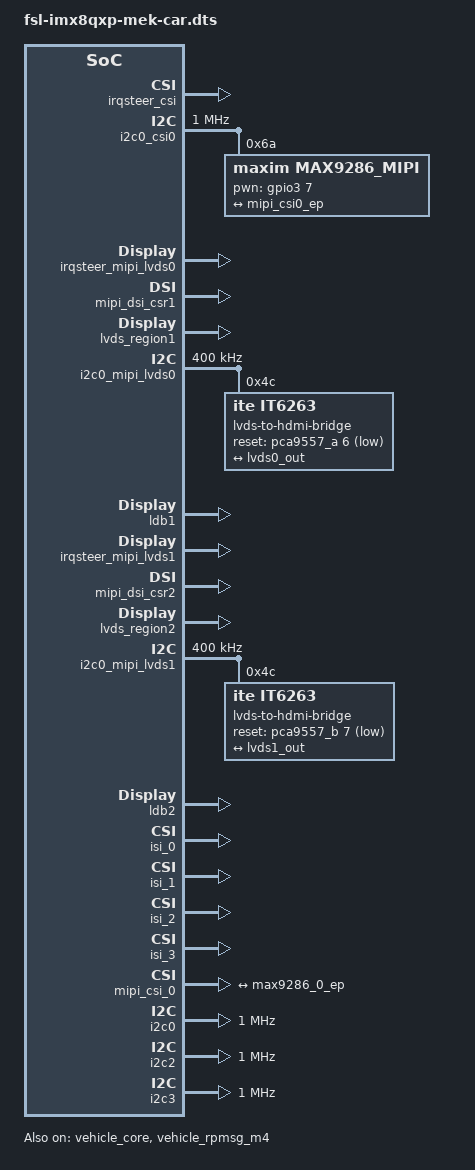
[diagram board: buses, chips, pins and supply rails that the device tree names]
/*
 * Copyright 2018 NXP
 *
 * This program is free software; you can redistribute it and/or
 * modify it under the terms of the GNU General Public License
 * as published by the Free Software Foundation; either version 2
 * of the License, or (at your option) any later version.
 *
 * This program is distributed in the hope that it will be useful,
 * but WITHOUT ANY WARRANTY; without even the implied warranty of
 * MERCHANTABILITY or FITNESS FOR A PARTICULAR PURPOSE.  See the
 * GNU General Public License for more details.
 */

#include "fsl-imx8qxp-mek-rpmsg.dts"
/ {
	trusty {
		compatible = "android,trusty-smc-v1";
		ranges;
		#address-cells = <2>;
		#size-cells = <2>;
		use-gicv3-workaround;
		trusty-irq {
			use-gicv3-workaround;
			compatible = "android,trusty-irq-v1";
			interrupt-templates = <&trusty_ipi 0>;
			interrupt-ranges = < 0 15 0>;
		};
		trusty-virtio {
			compatible = "android,trusty-virtio-v1";
		};
		trusty-log {
			compatible = "android,trusty-log-v1";
		};
	};
	trusty_ipi: interrupt-controller@0 {
		compatible = "android,CustomIPI";
		interrupt-controller;
		#interrupt-cells = <1>;
	};
};

/ {
    reserved-memory {
            carveout_region: imx_ion@0 {
                   status = "disabled";
            };
    };
};

/delete-node/ &irqsteer_csi;
/delete-node/ &i2c0_csi0;
/delete-node/ &dpu_intsteer;
/delete-node/ &pixel_combiner;
/delete-node/ &prg1;
/delete-node/ &prg2;
/delete-node/ &prg3;
/delete-node/ &prg4;
/delete-node/ &prg5;
/delete-node/ &prg6;
/delete-node/ &prg7;
/delete-node/ &prg8;
/delete-node/ &prg9;
/delete-node/ &dpr1_channel1;
/delete-node/ &dpr1_channel2;
/delete-node/ &dpr1_channel3;
/delete-node/ &dpr2_channel1;
/delete-node/ &dpr2_channel2;
/delete-node/ &dpr2_channel3;
/delete-node/ &dpu1;
/delete-node/ &irqsteer_mipi_lvds0;
/delete-node/ &mipi_dsi_csr1;
/delete-node/ &mipi_dsi_phy1;
/delete-node/ &mipi_dsi_bridge1;
/delete-node/ &mipi_dsi1;
/delete-node/ &lvds_region1;
/delete-node/ &ldb1_phy;
/delete-node/ &ldb1;
/delete-node/ &irqsteer_mipi_lvds1;
/delete-node/ &mipi_dsi_csr2;
/delete-node/ &mipi_dsi_phy2;
/delete-node/ &mipi_dsi_bridge2;
/delete-node/ &mipi_dsi2;
/delete-node/ &lvds_region2;
/delete-node/ &ldb2_phy;
/delete-node/ &ldb2;
/delete-node/ &cameradev;
/delete-node/ &pwm_mipi_lvds1;
/delete-node/ &pwm_mipi_lvds0;
/delete-node/ &i2c0_mipi_lvds0;
/delete-node/ &i2c0_mipi_lvds1;
/delete-node/ &gpio0_mipi_csi0;

&vehicle_core {
	status = "okay";
};

&vehicle_rpmsg_m4 {
	#address-cells = <2>;
	#size-cells = <2>;
	status = "okay";
	ranges;

	clk_post: clk1 {
		compatible = "fsl,imx8qxp-post-clk";
		#clock-cells = <1>;
	};

	irqsteer_csi: irqsteer@58220000 {
		compatible = "nxp,imx-irqsteer";
		reg = <0x0 0x58220000 0x0 0x1000>;
		interrupts = <GIC_SPI 320 IRQ_TYPE_LEVEL_HIGH>;
		interrupt-controller;
		interrupt-parent = <&gic>;
		#interrupt-cells = <2>;
		clocks = <&clk IMX8QXP_CLK_DUMMY>;
		clock-names = "ipg";
		power-domains = <&pd_mipi_csi>;
	};

	i2c0_csi0: i2c@58226000 {
		#address-cells = <1>;
		#size-cells = <0>;
		compatible = "fsl,imx8qm-lpi2c";
		reg = <0x0 0x58226000 0x0 0x1000>;
		interrupts = <8 IRQ_TYPE_LEVEL_HIGH>;
		interrupt-parent = <&irqsteer_csi>;
		clocks = <&clk_post IMX8QXP_CSI0_I2C0_CLK>,
			<&clk_post IMX8QXP_CSI0_I2C0_IPG_CLK>;
		clock-names = "per", "ipg";
		assigned-clocks = <&clk_post IMX8QXP_CSI0_I2C0_CLK>;
		assigned-clock-rates = <24000000>;
		power-domains = <&pd_mipi_csi_i2c0>;
		clock-frequency = <1000000>;
		pinctrl-names = "default";
		pinctrl-0 = <&pinctrl_csi0_lpi2c0>;
		status = "okay";

		max9286_mipi@6A	 {
			compatible = "maxim,max9286_mipi";
			reg = <0x6A>;
			clocks = <&clk IMX8QXP_CLK_DUMMY>;
			clock-names = "capture_mclk";
			mclk = <27000000>;
			mclk_source = <0>;
			pwn-gpios = <&gpio3 7 GPIO_ACTIVE_HIGH>;
			virtual-channel;
			status = "okay";
			port {
				max9286_0_ep: endpoint {
				remote-endpoint = <&mipi_csi0_ep>;
				data-lanes = <1 2 3 4>;
				};
			};
		};
	};

	dpu_intsteer: dpu_intsteer@56000000 {
		compatible = "fsl,imx8qxp-dpu-intsteer", "syscon";
		reg = <0x0 0x56000000 0x0 0x10000>;
	};

	pixel_combiner: pixel-combiner@56020000 {
		compatible = "fsl,imx8qxp-pixel-combiner";
		reg = <0x0 0x56020000 0x0 0x10000>;
		power-domains = <&pd_dc0>;
		status = "okay";
	};

	prg1: prg@56040000 {
		compatible = "fsl,imx8qxp-prg", "fsl,imx8qm-prg";
		reg = <0x0 0x56040000 0x0 0x10000>;
		clocks = <&clk_post IMX8QXP_DC0_PRG0_APB_CLK>,
			 <&clk_post IMX8QXP_DC0_PRG0_RTRAM_CLK>;
		clock-names = "apb", "rtram";
		power-domains = <&pd_dc0>;
		status = "okay";
	};

	prg2: prg@56050000 {
		compatible = "fsl,imx8qxp-prg", "fsl,imx8qm-prg";
		reg = <0x0 0x56050000 0x0 0x10000>;
		clocks = <&clk_post IMX8QXP_DC0_PRG1_APB_CLK>,
			 <&clk_post IMX8QXP_DC0_PRG1_RTRAM_CLK>;
		clock-names = "apb", "rtram";
		power-domains = <&pd_dc0>;
		status = "okay";
	};

	prg3: prg@56060000 {
		compatible = "fsl,imx8qxp-prg", "fsl,imx8qm-prg";
		reg = <0x0 0x56060000 0x0 0x10000>;
		clocks = <&clk_post IMX8QXP_DC0_PRG2_APB_CLK>,
			 <&clk_post IMX8QXP_DC0_PRG2_RTRAM_CLK>;
		clock-names = "apb", "rtram";
		power-domains = <&pd_dc0>;
		status = "okay";
	};

	prg4: prg@56070000 {
		compatible = "fsl,imx8qxp-prg", "fsl,imx8qm-prg";
		reg = <0x0 0x56070000 0x0 0x10000>;
		clocks = <&clk_post IMX8QXP_DC0_PRG3_APB_CLK>,
			 <&clk_post IMX8QXP_DC0_PRG3_RTRAM_CLK>;
		clock-names = "apb", "rtram";
		power-domains = <&pd_dc0>;
		status = "okay";
	};

	prg5: prg@56080000 {
		compatible = "fsl,imx8qxp-prg", "fsl,imx8qm-prg";
		reg = <0x0 0x56080000 0x0 0x10000>;
		clocks = <&clk_post IMX8QXP_DC0_PRG4_APB_CLK>,
			 <&clk_post IMX8QXP_DC0_PRG4_RTRAM_CLK>;
		clock-names = "apb", "rtram";
		power-domains = <&pd_dc0>;
		status = "okay";
	};

	prg6: prg@56090000 {
		compatible = "fsl,imx8qxp-prg", "fsl,imx8qm-prg";
		reg = <0x0 0x56090000 0x0 0x10000>;
		clocks = <&clk_post IMX8QXP_DC0_PRG5_APB_CLK>,
			 <&clk_post IMX8QXP_DC0_PRG5_RTRAM_CLK>;
		clock-names = "apb", "rtram";
		power-domains = <&pd_dc0>;
		status = "okay";
	};

	prg7: prg@560a0000 {
		compatible = "fsl,imx8qxp-prg", "fsl,imx8qm-prg";
		reg = <0x0 0x560a0000 0x0 0x10000>;
		clocks = <&clk_post IMX8QXP_DC0_PRG6_APB_CLK>,
			 <&clk_post IMX8QXP_DC0_PRG6_RTRAM_CLK>;
		clock-names = "apb", "rtram";
		power-domains = <&pd_dc0>;
		status = "okay";
	};

	prg8: prg@560b0000 {
		compatible = "fsl,imx8qxp-prg", "fsl,imx8qm-prg";
		reg = <0x0 0x560b0000 0x0 0x10000>;
		clocks = <&clk_post IMX8QXP_DC0_PRG7_APB_CLK>,
			 <&clk_post IMX8QXP_DC0_PRG7_RTRAM_CLK>;
		clock-names = "apb", "rtram";
		power-domains = <&pd_dc0>;
		status = "okay";
	};

	prg9: prg@560c0000 {
		compatible = "fsl,imx8qxp-prg", "fsl,imx8qm-prg";
		reg = <0x0 0x560c0000 0x0 0x10000>;
		clocks = <&clk_post IMX8QXP_DC0_PRG8_APB_CLK>,
			 <&clk_post IMX8QXP_DC0_PRG8_RTRAM_CLK>;
		clock-names = "apb", "rtram";
		power-domains = <&pd_dc0>;
		status = "okay";
	};

	dpr1_channel1: dpr-channel@560d0000 {
		compatible = "fsl,imx8qxp-dpr-channel",
			     "fsl,imx8qm-dpr-channel";
		reg = <0x0 0x560d0000 0x0 0x10000>;
		fsl,sc-resource = <SC_R_DC_0_BLIT0>;
		fsl,prgs = <&prg1>;
		clocks = <&clk_post IMX8QXP_DC0_DPR0_APB_CLK>,
			 <&clk_post IMX8QXP_DC0_DPR0_B_CLK>,
			 <&clk_post IMX8QXP_DC0_RTRAM0_CLK>;
		clock-names = "apb", "b", "rtram";
		power-domains = <&pd_dc0>;
		status = "okay";
	};

	dpr1_channel2: dpr-channel@560e0000 {
		compatible = "fsl,imx8qxp-dpr-channel",
			     "fsl,imx8qm-dpr-channel";
		reg = <0x0 0x560e0000 0x0 0x10000>;
		fsl,sc-resource = <SC_R_DC_0_BLIT1>;
		fsl,prgs = <&prg2>, <&prg1>;
		clocks = <&clk_post IMX8QXP_DC0_DPR0_APB_CLK>,
			 <&clk_post IMX8QXP_DC0_DPR0_B_CLK>,
			 <&clk_post IMX8QXP_DC0_RTRAM0_CLK>;
		clock-names = "apb", "b", "rtram";
		power-domains = <&pd_dc0>;
		status = "okay";
	};

	dpr1_channel3: dpr-channel@560f0000 {
		compatible = "fsl,imx8qxp-dpr-channel",
			     "fsl,imx8qm-dpr-channel";
		reg = <0x0 0x560f0000 0x0 0x10000>;
		fsl,sc-resource = <SC_R_DC_0_FRAC0>;
		fsl,prgs = <&prg3>;
		clocks = <&clk_post IMX8QXP_DC0_DPR0_APB_CLK>,
			 <&clk_post IMX8QXP_DC0_DPR0_B_CLK>,
			 <&clk_post IMX8QXP_DC0_RTRAM0_CLK>;
		clock-names = "apb", "b", "rtram";
		power-domains = <&pd_dc0>;
		status = "okay";
	};

	dpr2_channel1: dpr-channel@56100000 {
		compatible = "fsl,imx8qxp-dpr-channel",
			     "fsl,imx8qm-dpr-channel";
		reg = <0x0 0x56100000 0x0 0x10000>;
		fsl,sc-resource = <SC_R_DC_0_VIDEO0>;
		fsl,prgs = <&prg4>, <&prg5>;
		clocks = <&clk_post IMX8QXP_DC0_DPR1_APB_CLK>,
			 <&clk_post IMX8QXP_DC0_DPR1_B_CLK>,
			 <&clk_post IMX8QXP_DC0_RTRAM1_CLK>;
		clock-names = "apb", "b", "rtram";
		power-domains = <&pd_dc0>;
		status = "okay";
	};

	dpr2_channel2: dpr-channel@56110000 {
		compatible = "fsl,imx8qxp-dpr-channel",
			     "fsl,imx8qm-dpr-channel";
		reg = <0x0 0x56110000 0x0 0x10000>;
		fsl,sc-resource = <SC_R_DC_0_VIDEO1>;
		fsl,prgs = <&prg6>, <&prg7>;
		clocks = <&clk_post IMX8QXP_DC0_DPR1_APB_CLK>,
			 <&clk_post IMX8QXP_DC0_DPR1_B_CLK>,
			 <&clk_post IMX8QXP_DC0_RTRAM1_CLK>;
		clock-names = "apb", "b", "rtram";
		power-domains = <&pd_dc0>;
		status = "okay";
	};

	dpr2_channel3: dpr-channel@56120000 {
		compatible = "fsl,imx8qxp-dpr-channel",
			     "fsl,imx8qm-dpr-channel";
		reg = <0x0 0x56120000 0x0 0x10000>;
		fsl,sc-resource = <SC_R_DC_0_WARP>;
		fsl,prgs = <&prg8>, <&prg9>;
		clocks = <&clk_post IMX8QXP_DC0_DPR1_APB_CLK>,
			 <&clk_post IMX8QXP_DC0_DPR1_B_CLK>,
			 <&clk_post IMX8QXP_DC0_RTRAM1_CLK>;
		clock-names = "apb", "b", "rtram";
		power-domains = <&pd_dc0>;
		status = "okay";
	};

	dpu1: dpu@56180000 {
		#address-cells = <1>;
		#size-cells = <0>;
		compatible = "fsl,imx8qxp-dpu", "fsl,imx8qm-dpu";
		reg = <0x0 0x56180000 0x0 0x40000>;
		intsteer = <&dpu_intsteer>;
		interrupts = <GIC_SPI 40 IRQ_TYPE_LEVEL_HIGH>,
			     <GIC_SPI 41 IRQ_TYPE_LEVEL_HIGH>,
			     <GIC_SPI 42 IRQ_TYPE_LEVEL_HIGH>,
			     <GIC_SPI 43 IRQ_TYPE_LEVEL_HIGH>,
			     <GIC_SPI 44 IRQ_TYPE_LEVEL_HIGH>,
			     <GIC_SPI 45 IRQ_TYPE_LEVEL_HIGH>,
			     <GIC_SPI 46 IRQ_TYPE_LEVEL_HIGH>,
			     <GIC_SPI 47 IRQ_TYPE_LEVEL_HIGH>,
			     <GIC_SPI 50 IRQ_TYPE_LEVEL_HIGH>,
			     <GIC_SPI 51 IRQ_TYPE_LEVEL_HIGH>;
		interrupt-names = "irq_common",
				  "irq_stream0a",
				  "irq_stream0b",	/* to M4? */
				  "irq_stream1a",
				  "irq_stream1b",	/* to M4? */
				  "irq_reserved0",
				  "irq_reserved1",
				  "irq_blit",
				  "irq_dpr0",
				  "irq_dpr1";
		clocks = <&clk_post IMX8QXP_DC0_PLL0_CLK>,
			 <&clk_post IMX8QXP_DC0_PLL1_CLK>,
			 <&clk_post IMX8QXP_DC0_DISP0_CLK>,
			 <&clk_post IMX8QXP_DC0_DISP1_CLK>;
		clock-names = "pll0", "pll1", "disp0", "disp1";
		power-domains = <&pd_dc0_pll1>;
		fsl,dpr-channels = <&dpr1_channel1>, <&dpr1_channel2>,
				   <&dpr1_channel3>, <&dpr2_channel1>,
				   <&dpr2_channel2>, <&dpr2_channel3>;
		fsl,pixel-combiner = <&pixel_combiner>;
		status = "okay";

		dpu_disp0: port@0 {
			reg = <0>;

			dpu_disp0_lvds0_ch0: lvds0-endpoint {
				remote-endpoint = <&ldb1_ch0>;
			};

			dpu_disp0_lvds0_ch1: lvds1-endpoint {
				remote-endpoint = <&ldb1_ch1>;
			};

			dpu_disp0_mipi_dsi: mipi-dsi-endpoint {
				remote-endpoint = <&mipi_dsi1_in>;
			};
		};

		dpu_disp1: port@1 {
			reg = <1>;

			dpu_disp1_lvds1_ch0: lvds0-endpoint {
				remote-endpoint = <&ldb2_ch0>;
			};

			dpu_disp1_lvds1_ch1: lvds1-endpoint {
				remote-endpoint = <&ldb2_ch1>;
			};

			dpu_disp1_mipi_dsi: mipi-dsi-endpoint {
				remote-endpoint = <&mipi_dsi2_in>;
			};
		};
	};

	irqsteer_mipi_lvds0: irqsteer@56220000 {
		compatible = "nxp,imx-irqsteer";
		reg = <0x0 0x56220000 0x0 0x1000>;
		interrupts = <GIC_SPI 59 IRQ_TYPE_LEVEL_HIGH>;
		interrupt-controller;
		interrupt-parent = <&gic>;
		#interrupt-cells = <2>;
		clocks = <&clk_post IMX8QXP_MIPI0_LIS_IPG_CLK>;
		clock-names = "ipg";
		power-domains = <&pd_mipi_dsi0>;
	};

	mipi_dsi_csr1: csr@56221000 {
		compatible = "fsl,imx8qxp-mipi-dsi-csr", "syscon";
		reg = <0x0 0x56221000 0x0 0x1000>;
	};

	mipi_dsi_phy1: dsi_phy@56228300 {
		#address-cells = <1>;
		#size-cells = <0>;
		compatible = "mixel,imx8qxp-mipi-dsi-phy";
		reg = <0x0 0x56228300 0x0 0x100>;
		#phy-cells = <0>;
		status = "okay";
	};

	mipi_dsi_bridge1: mipi_dsi_bridge@56228000 {
		#address-cells = <1>;
		#size-cells = <0>;
		compatible = "nwl,mipi-dsi";
		reg = <0x0 0x56228000 0x0 0x300>;
		interrupts = <16 IRQ_TYPE_LEVEL_HIGH>;
		interrupt-parent = <&irqsteer_mipi_lvds0>;
		clocks =
			<&clk_post IMX8QXP_MIPI0_BYPASS_CLK>,
			<&clk_post IMX8QXP_MIPI0_DSI_TX_ESC_CLK>,
			<&clk_post IMX8QXP_MIPI0_DSI_RX_ESC_CLK>;
		clock-names = "phy_ref", "tx_esc", "rx_esc";
		assigned-clocks =
			<&clk_post IMX8QXP_MIPI0_DSI_TX_ESC_SEL>,
			<&clk_post IMX8QXP_MIPI0_DSI_RX_ESC_SEL>,
			<&clk_post IMX8QXP_MIPI0_DSI_TX_ESC_CLK>,
			<&clk_post IMX8QXP_MIPI0_DSI_RX_ESC_CLK>;
		assigned-clock-rates = <0>, <0>, <18000000>, <72000000>;
		assigned-clock-parents =
			<&clk_post IMX8QXP_MIPI0_DSI_PLL_DIV2_CLK>,
			<&clk_post IMX8QXP_MIPI0_DSI_PLL_DIV2_CLK>;
		power-domains = <&pd_mipi_dsi0>;
		phys = <&mipi_dsi_phy1>;
		phy-names = "dphy";
		status = "okay";

		port@0 {
			mipi_dsi_bridge1_in: endpoint {
				remote-endpoint = <&mipi_dsi1_out>;
			};
		};

		port@1 {
			mipi_dsi_bridge1_out: endpoint {
				remote-endpoint = <&adv7535_1_in>;
			};
		};
	};

	mipi_dsi1: mipi_dsi@56228000 {
		compatible = "fsl,imx8qxp-mipi-dsi";
		clocks =
			<&clk_post IMX8QXP_MIPI0_PIXEL_CLK>,
			<&clk_post IMX8QXP_MIPI0_BYPASS_CLK>,
			<&clk IMX8QXP_CLK_DUMMY>;
		clock-names = "pixel", "bypass", "phy_ref";
		power-domains = <&pd_mipi_dsi0>;
		csr = <&mipi_dsi_csr1>;
		phys = <&mipi_dsi_phy1>;
		phy-names = "dphy";
		pwr-delay = <10>;
		status = "okay";

		port@0 {
			mipi_dsi1_in: endpoint {
				remote-endpoint = <&dpu_disp0_mipi_dsi>;
			};
		};

		port@1 {
			mipi_dsi1_out: endpoint {
				remote-endpoint = <&mipi_dsi_bridge1_in>;
			};
		};
	};

	lvds_region1: lvds_region@56220000 {
		compatible = "fsl,imx8qxp-lvds-region", "syscon";
		reg = <0x0 0x56220000 0x0 0x10000>;
	};

	ldb1_phy: ldb_phy@56221000 {
		compatible = "mixel,lvds-combo-phy";
		reg = <0x0 0x56221000 0x0 0x100>, <0x0 0x56228000 0x0 0x1000>;
		#phy-cells = <0>;
		clocks = <&clk_post IMX8QXP_MIPI0_LVDS_PHY_CLK>;
		clock-names = "phy";
		status = "okay";
	};

	i2c0_mipi_lvds0: i2c@56226000 {
		#address-cells = <1>;
		#size-cells = <0>;
		compatible = "fsl,imx8qxp-lpi2c", "fsl,imx8qm-lpi2c";
		reg = <0x0 0x56226000 0x0 0x1000>;
		interrupts = <8 IRQ_TYPE_LEVEL_HIGH>;
		interrupt-parent = <&irqsteer_mipi_lvds0>;
		clocks = <&clk_post IMX8QXP_MIPI0_I2C0_CLK>,
			 <&clk_post IMX8QXP_MIPI0_I2C0_IPG_CLK>;
		clock-names = "per", "ipg";
		assigned-clocks = <&clk_post IMX8QXP_MIPI0_I2C0_DIV>;
		assigned-clock-rates = <24000000>;
		power-domains = <&pd_mipi_dsi_0_i2c0>;
		clock-frequency = <400000>;
		status = "okay";
		pinctrl-names = "default";
		pinctrl-0 = <&pinctrl_i2c0_mipi_lvds0>;

		lvds-to-hdmi-bridge@4c {
			compatible = "ite,it6263";
			reg = <0x4c>;
			reset-gpios = <&pca9557_a 6 GPIO_ACTIVE_LOW>;

			port {
				it6263_0_in: endpoint {
					clock-lanes = <4>;
					data-lanes = <0 1 2 3>;
					remote-endpoint = <&lvds0_out>;
				};
			};
		};

		adv_bridge1: adv7535@3d {
			compatible = "adi,adv7535", "adi,adv7533";
			reg = <0x3d>;
			adi,dsi-lanes = <4>;
			adi,dsi-channel = <1>;
			interrupt-parent = <&gpio1>;
			interrupts = <28 IRQ_TYPE_LEVEL_LOW>;
			status = "disabled";

			port {
				adv7535_1_in: endpoint {
					remote-endpoint = <&mipi_dsi_bridge1_out>;
				};
			};
		};
	};

	ldb1: ldb@562210e0 {
		#address-cells = <1>;
		#size-cells = <0>;
		compatible = "fsl,imx8qxp-ldb";
		clocks = <&clk_post IMX8QXP_MIPI0_LVDS_PIXEL_CLK>,
			 <&clk_post IMX8QXP_MIPI0_LVDS_BYPASS_CLK>,
			 <&clk_post IMX8QXP_MIPI1_LVDS_PIXEL_CLK>,
			 <&clk_post IMX8QXP_MIPI1_LVDS_BYPASS_CLK>;
		clock-names = "pixel", "bypass", "aux_pixel", "aux_bypass";
		power-domains = <&pd_mipi_dsi_0_lvds>;
		gpr = <&lvds_region1>;
		aux-gpr = <&lvds_region2>;
		status = "okay";

		lvds-channel@0 {
			#address-cells = <1>;
			#size-cells = <0>;
			reg = <0>;
			phys = <&ldb1_phy>, <&ldb2_phy>;
			phy-names = "ldb_phy", "aux_ldb_phy";
			fsl,data-mapping = "jeida";
			fsl,data-width = <24>;
			status = "okay";

			port@0 {
				reg = <0>;

				ldb1_ch0: endpoint {
					remote-endpoint = <&dpu_disp0_lvds0_ch0>;
				};
			};

			port@1 {
				reg = <1>;

				lvds0_out: endpoint {
					remote-endpoint = <&it6263_0_in>;
				};
			};
		};

		lvds-channel@1 {
			#address-cells = <1>;
			#size-cells = <0>;
			reg = <1>;
			phys = <&ldb1_phy>;
			phy-names = "ldb_phy";
			status = "disabled";

			port@0 {
				reg = <0>;

				ldb1_ch1: endpoint {
					remote-endpoint = <&dpu_disp0_lvds0_ch1>;
				};
			};
		};
	};

	pwm_mipi_lvds0: pwm@56224000 {
		compatible = "fsl,imx8qxp-pwm", "fsl,imx27-pwm";
		reg = <0x0 0x56224000 0 0x1000>;
		clocks = <&clk_post IMX8QXP_MIPI0_PWM_IPG_CLK>,
			 <&clk_post IMX8QXP_MIPI0_PWM_CLK>,
			 <&clk_post IMX8QXP_MIPI0_PWM_32K_CLK>;
		clock-names = "ipg", "per", "32k";
		assigned-clocks = <&clk_post IMX8QXP_MIPI0_PWM_CLK>;
		assigned-clock-rates = <24000000>;
		#pwm-cells = <2>;
		power-domains = <&pd_mipi_0_pwm0>;
		pinctrl-names = "default";
		pinctrl-0 = <&pinctrl_pwm_mipi_lvds0>;
		status = "okay";
	};

	irqsteer_mipi_lvds1: irqsteer@56240000 {
		compatible = "nxp,imx-irqsteer";
		reg = <0x0 0x56240000 0x0 0x1000>;
		interrupts = <GIC_SPI 60 IRQ_TYPE_LEVEL_HIGH>;
		interrupt-controller;
		interrupt-parent = <&gic>;
		#interrupt-cells = <2>;
		clocks = <&clk_post IMX8QXP_MIPI1_LIS_IPG_CLK>;
		clock-names = "ipg";
		power-domains = <&pd_mipi_dsi1>;
	};

	mipi_dsi_csr2: csr@56241000 {
		compatible = "fsl,imx8qxp-mipi-dsi-csr", "syscon";
		reg = <0x0 0x56241000 0x0 0x1000>;
	};

	mipi_dsi_phy2: dsi_phy@56248300 {
		#address-cells = <1>;
		#size-cells = <0>;
		compatible = "mixel,imx8qxp-mipi-dsi-phy";
		reg = <0x0 0x56248300 0x0 0x100>;
		#phy-cells = <0>;
		status = "disabled";
	};

	mipi_dsi_bridge2: mipi_dsi_bridge@56248000 {
		#address-cells = <1>;
		#size-cells = <0>;
		compatible = "nwl,mipi-dsi";
		reg = <0x0 0x56248000 0x0 0x300>;
		interrupts = <16 IRQ_TYPE_LEVEL_HIGH>;
		interrupt-parent = <&irqsteer_mipi_lvds1>;
		clocks =
			<&clk_post IMX8QXP_MIPI1_BYPASS_CLK>,
			<&clk_post IMX8QXP_MIPI1_DSI_TX_ESC_CLK>,
			<&clk_post IMX8QXP_MIPI1_DSI_RX_ESC_CLK>;
		clock-names = "phy_ref", "tx_esc", "rx_esc";
		assigned-clocks =
			<&clk_post IMX8QXP_MIPI1_DSI_TX_ESC_SEL>,
			<&clk_post IMX8QXP_MIPI1_DSI_RX_ESC_SEL>,
			<&clk_post IMX8QXP_MIPI1_DSI_TX_ESC_CLK>,
			<&clk_post IMX8QXP_MIPI1_DSI_RX_ESC_CLK>;
		assigned-clock-rates = <0>, <0>, <18000000>, <72000000>;
		assigned-clock-parents =
			<&clk_post IMX8QXP_MIPI1_DSI_PLL_DIV2_CLK>,
			<&clk_post IMX8QXP_MIPI1_DSI_PLL_DIV2_CLK>;
		power-domains = <&pd_mipi_dsi1>;
		phys = <&mipi_dsi_phy2>;
		phy-names = "dphy";
		status = "okay";

		port@0 {
			mipi_dsi_bridge2_in: endpoint {
				remote-endpoint = <&mipi_dsi2_out>;
			};
		};

		port@1 {
			mipi_dsi_bridge2_out: endpoint {
				remote-endpoint = <&adv7535_2_in>;
			};
		};
	};

	mipi_dsi2: mipi_dsi@56248000 {
		compatible = "fsl,imx8qxp-mipi-dsi";
		clocks =
			<&clk_post IMX8QXP_MIPI1_PIXEL_CLK>,
			<&clk_post IMX8QXP_MIPI1_BYPASS_CLK>,
			<&clk_post IMX8QXP_CLK_DUMMY>;
		clock-names = "pixel", "bypass", "phy_ref";
		power-domains = <&pd_mipi_dsi1>;
		csr = <&mipi_dsi_csr2>;
		phys = <&mipi_dsi_phy2>;
		phy-names = "dphy";
		pwr-delay = <10>;
		status = "disabled";

		port@0 {
			mipi_dsi2_in: endpoint {
				remote-endpoint = <&dpu_disp1_mipi_dsi>;
			};
		};

		port@1 {
			mipi_dsi2_out: endpoint {
				remote-endpoint = <&mipi_dsi_bridge2_in>;
			};
		};
	};

	lvds_region2: lvds_region@56240000 {
		compatible = "fsl,imx8qxp-lvds-region", "syscon";
		reg = <0x0 0x56240000 0x0 0x10000>;
	};

	ldb2_phy: ldb_phy@56241000 {
		compatible = "mixel,lvds-combo-phy";
		reg = <0x0 0x56241000 0x0 0x100>, <0x0 0x56248000 0x0 0x1000>;
		#phy-cells = <0>;
		clocks = <&clk_post IMX8QXP_MIPI1_LVDS_PHY_CLK>;
		clock-names = "phy";
		status = "okay";
	};

	i2c0_mipi_lvds1: i2c@56246000 {
		compatible = "fsl,imx8qxp-lpi2c", "fsl,imx8qm-lpi2c";
		reg = <0x0 0x56246000 0x0 0x1000>;
		interrupts = <8 IRQ_TYPE_LEVEL_HIGH>;
		interrupt-parent = <&irqsteer_mipi_lvds1>;
		clocks = <&clk_post IMX8QXP_MIPI1_I2C0_CLK>,
			 <&clk_post IMX8QXP_MIPI1_I2C0_IPG_CLK>;
		clock-names = "per", "ipg";
		assigned-clocks = <&clk_post IMX8QXP_MIPI1_I2C0_DIV>;
		assigned-clock-rates = <24000000>;
		power-domains = <&pd_mipi_dsi_1_i2c0>;
		#address-cells = <1>;
		#size-cells = <0>;
		pinctrl-names = "default";
		pinctrl-0 = <&pinctrl_i2c0_mipi_lvds1>;
		clock-frequency = <100000>;
		status = "okay";

		lvds-to-hdmi-bridge@4c {
			compatible = "ite,it6263";
			reg = <0x4c>;
			reset-gpios = <&pca9557_b 7 GPIO_ACTIVE_LOW>;

			port {
				it6263_1_in: endpoint {
					clock-lanes = <4>;
					data-lanes = <0 1 2 3>;
					remote-endpoint = <&lvds1_out>;
				};
			};
		};

		adv_bridge2: adv7535@3d {
			compatible = "adi,adv7535", "adi,adv7533";
			reg = <0x3d>;
			adi,dsi-lanes = <4>;
			adi,dsi-channel = <1>;
			interrupt-parent = <&gpio2>;
			interrupts = <0 IRQ_TYPE_LEVEL_LOW>;
			status = "okay";

			port {
				adv7535_2_in: endpoint {
					remote-endpoint = <&mipi_dsi_bridge2_out>;
				};
			};
		};
	};

	ldb2: ldb@562410e0 {
		#address-cells = <1>;
		#size-cells = <0>;
		compatible = "fsl,imx8qxp-ldb";
		clocks = <&clk_post IMX8QXP_MIPI1_LVDS_PIXEL_CLK>,
			 <&clk_post IMX8QXP_MIPI1_LVDS_BYPASS_CLK>,
			 <&clk_post IMX8QXP_MIPI0_LVDS_PIXEL_CLK>,
			 <&clk_post IMX8QXP_MIPI0_LVDS_BYPASS_CLK>;
		clock-names = "pixel", "bypass", "aux_pixel", "aux_bypass";
		power-domains = <&pd_mipi_dsi_1_lvds>;
		gpr = <&lvds_region2>;
		aux-gpr = <&lvds_region1>;
		status = "okay";

		lvds-channel@0 {
			#address-cells = <1>;
			#size-cells = <0>;
			reg = <0>;
			phys = <&ldb2_phy>, <&ldb1_phy>;
			phy-names = "ldb_phy", "aux_ldb_phy";
			fsl,data-mapping = "jeida";
			fsl,data-width = <24>;
			status = "okay";

			port@0 {
				reg = <0>;

				ldb2_ch0: endpoint {
					remote-endpoint = <&dpu_disp1_lvds1_ch0>;
				};
			};

			port@1 {
				reg = <1>;

				lvds1_out: endpoint {
					remote-endpoint = <&it6263_1_in>;
				};
			};
		};

		lvds-channel@1 {
			#address-cells = <1>;
			#size-cells = <0>;
			reg = <1>;
			phys = <&ldb2_phy>;
			phy-names = "ldb_phy";
			status = "disabled";

			port@0 {
				reg = <0>;

				ldb2_ch1: endpoint {
					remote-endpoint = <&dpu_disp1_lvds1_ch1>;
				};
			};
		};
	};

	cameradev: camera {
		compatible = "fsl,mxc-md", "simple-bus";
		#address-cells = <2>;
		#size-cells = <2>;
		ranges;

		isi_0: isi@58100000 {
			compatible = "fsl,imx8-isi";
			reg = <0x0 0x58100000 0x0 0x10000>;
			interrupts = <0 297 0>;
			interface = <2 0 2>;  /* <Input MIPI_VCx Output>
						Input:  0-DC0, 1-DC1, 2-MIPI CSI0, 3-MIPI CSI1, 4-HDMI, 5-MEM
						VCx:    0-VC0, 1-VC1, 2-VC2, 3-VC3, MIPI CSI only
						Output: 0-DC0, 1-DC1, 2-MEM */
			clocks = <&clk IMX8QXP_IMG_PDMA_0_CLK>;
			clock-names = "per";
			assigned-clocks = <&clk IMX8QXP_IMG_PDMA_0_CLK>;
			assigned-clock-rates = <600000000>;
			power-domains =<&pd_isi_ch0>;
			status = "okay";
		};

		isi_1: isi@58110000 {
			compatible = "fsl,imx8-isi";
			reg = <0x0 0x58110000 0x0 0x10000>;
			interrupts = <0 298 0>;
			interface = <2 1 2>;
			clocks = <&clk IMX8QXP_IMG_PDMA_1_CLK>;
			clock-names = "per";
			assigned-clocks = <&clk IMX8QXP_IMG_PDMA_1_CLK>;
			assigned-clock-rates = <600000000>;
			power-domains =<&pd_isi_ch1>;
			status = "okay";
		};

		isi_2: isi@58120000 {
			compatible = "fsl,imx8-isi";
			reg = <0x0 0x58120000 0x0 0x10000>;
			interrupts = <0 299 0>;
			interface = <2 2 2>;
			clocks = <&clk IMX8QXP_IMG_PDMA_2_CLK>;
			clock-names = "per";
			assigned-clocks = <&clk IMX8QXP_IMG_PDMA_2_CLK>;
			assigned-clock-rates = <600000000>;
			power-domains =<&pd_isi_ch2>;
			status = "okay";
		};

		isi_3: isi@58130000 {
			compatible = "fsl,imx8-isi";
			reg = <0x0 0x58130000 0x0 0x10000>;
			interrupts = <0 300 0>;
			interface = <2 3 2>;
			clocks = <&clk IMX8QXP_IMG_PDMA_3_CLK>;
			clock-names = "per";
			assigned-clocks = <&clk IMX8QXP_IMG_PDMA_3_CLK>;
			assigned-clock-rates = <600000000>;
			power-domains =<&pd_isi_ch3>;
			status = "okay";
		};

		isi_4: isi@58140000 {
			compatible = "fsl,imx8-isi";
			reg = <0x0 0x58140000 0x0 0x10000>;
			interrupts = <0 301 0>;
			interface = <3 0 2>;
			clocks = <&clk IMX8QXP_IMG_PDMA_4_CLK>;
			clock-names = "per";
			assigned-clocks = <&clk IMX8QXP_IMG_PDMA_4_CLK>;
			assigned-clock-rates = <600000000>;
			power-domains =<&pd_isi_ch4>;
			status = "disabled";
		};

		isi_5: isi@58150000 {
			compatible = "fsl,imx8-isi";
			reg = <0x0 0x58150000 0x0 0x10000>;
			interrupts = <0 302 0>;
			interface = <3 1 2>;
			clocks = <&clk IMX8QXP_IMG_PDMA_5_CLK>;
			clock-names = "per";
			assigned-clocks = <&clk IMX8QXP_IMG_PDMA_5_CLK>;
			assigned-clock-rates = <600000000>;
			power-domains =<&pd_isi_ch5>;
			status = "disabled";
		};

		isi_6: isi@58160000 {
			compatible = "fsl,imx8-isi";
			reg = <0x0 0x58160000 0x0 0x10000>;
			interrupts = <0 303 0>;
			interface = <3 2 2>;
			clocks = <&clk IMX8QXP_IMG_PDMA_6_CLK>;
			clock-names = "per";
			assigned-clocks = <&clk IMX8QXP_IMG_PDMA_6_CLK>;
			assigned-clock-rates = <600000000>;
			power-domains =<&pd_isi_ch6>;
			status = "disabled";
		};

		isi_7: isi@58170000 {
			compatible = "fsl,imx8-isi";
			reg = <0x0 0x58170000 0x0 0x10000>;
			interrupts = <0 304 0>;
			interface = <3 3 2>;
			clocks = <&clk IMX8QXP_IMG_PDMA_7_CLK>;
			clock-names = "per";
			assigned-clocks = <&clk IMX8QXP_IMG_PDMA_7_CLK>;
			assigned-clock-rates = <600000000>;
			power-domains =<&pd_isi_ch7>;
			status = "disabled";
		};

		mipi_csi_0: csi@58227000 {
			compatible = "fsl,mxc-mipi-csi2";
			reg = <0x0 0x58227000 0x0 0x1000>, /* CSI0 Controler base addr */
				<0x0 0x58221000 0x0 0x1000>; /* CSI0 Subsystem CSR base addr  */
			interrupts = <10 IRQ_TYPE_LEVEL_HIGH>;
			interrupt-parent = <&irqsteer_csi>;
			clocks = <&clk IMX8QXP_CLK_DUMMY>,
					<&clk_post IMX8QXP_CSI0_CORE_CLK>,
					<&clk_post IMX8QXP_CSI0_ESC_CLK>,
					<&clk IMX8QXP_IMG_PXL_LINK_CSI0_CLK>;
			clock-names = "clk_apb", "clk_core", "clk_esc", "clk_pxl";
			assigned-clocks = <&clk_post IMX8QXP_CSI0_CORE_CLK>,
						<&clk_post IMX8QXP_CSI0_ESC_CLK>;
			assigned-clock-rates = <360000000>, <72000000>;
			power-domains = <&pd_mipi_csi>;
			#address-cells = <1>;
			#size-cells = <0>;
			virtual-channel;
			status = "okay";

			/* Camera 0  MIPI CSI-2 (CSIS0) */
			port@0 {
				reg = <0>;
				mipi_csi0_ep: endpoint {
					remote-endpoint = <&max9286_0_ep>;
					data-lanes = <1 2 3 4>;
				};
			};
		};

		parallel_csi: pcsi@58261000 {
			compatible = "fsl,mxc-parallel-csi";
			reg = <0x0 0x58261000 0x0 0x1000>;
			clocks = <&clk IMX8QXP_PARALLEL_CSI_PIXEL_CLK>,
				   <&clk IMX8QXP_PARALLEL_CSI_IPG_CLK>,
				   <&clk IMX8QXP_PARALLEL_CSI_CLK_SEL>,
				   <&clk IMX8QXP_PARALLEL_CSI_PER_CLK_DIV>,
				   <&clk IMX8QXP_PARALLEL_CSI_CLK_DPLL>;
			clock-names = "pixel", "ipg", "sel", "div", "dpll";
			assigned-clocks = <&clk IMX8QXP_PARALLEL_CSI_CLK_SEL>,
							<&clk IMX8QXP_PARALLEL_CSI_PER_CLK_DIV>;
			assigned-clock-parents = <&clk IMX8QXP_PARALLEL_CSI_CLK_DPLL>;
			assigned-clock-rates = <0>, <160000000>;  /* 160MHz */
			power-domains = <&pd_parallel_csi>;
			status = "disabled";
		};

		jpegdec: jpegdec@58400000 {
			compatible = "fsl,imx8-jpgdec";
			reg = <0x0 0x58400000 0x0 0x00040020 >;
			interrupts = <GIC_SPI 309 IRQ_TYPE_LEVEL_HIGH>;
			clocks = <&clk IMX8QXP_IMG_JPEG_DEC_IPG_CLK >,
					<&clk IMX8QXP_IMG_JPEG_DEC_CLK >;
			clock-names = "ipg", "per";
			assigned-clocks = <&clk IMX8QXP_IMG_JPEG_DEC_IPG_CLK >,
					<&clk IMX8QXP_IMG_JPEG_DEC_CLK >;
			assigned-clock-rates = <200000000>;
			power-domains =<&pd_jpgdec>;
			status = "okay";
		};

		jpegenc: jpegenc@58450000 {
			compatible = "fsl,imx8-jpgenc";
			reg = <0x0 0x58450000 0x0 0x00240020 >;
			interrupts = <GIC_SPI 305 IRQ_TYPE_LEVEL_HIGH>;
			clocks = <&clk IMX8QXP_IMG_JPEG_ENC_IPG_CLK >,
					<&clk IMX8QXP_IMG_JPEG_ENC_CLK >;
			clock-names = "ipg", "per";
			assigned-clocks = <&clk IMX8QXP_IMG_JPEG_ENC_IPG_CLK >,
					<&clk IMX8QXP_IMG_JPEG_ENC_CLK >;
			assigned-clock-rates = <200000000>;
			power-domains =<&pd_jpgenc>;
			status = "okay";
		};
	};

	pwm_mipi_lvds1: pwm@56244000 {
		compatible = "fsl,imx8qxp-pwm", "fsl,imx27-pwm";
		reg = <0x0 0x56244000 0 0x1000>;
		clocks = <&clk_post IMX8QXP_MIPI1_PWM_IPG_CLK>,
			 <&clk_post IMX8QXP_MIPI1_PWM_CLK>,
			 <&clk_post IMX8QXP_MIPI1_PWM_32K_CLK>;
		clock-names = "ipg", "per", "32k";
		assigned-clocks = <&clk_post IMX8QXP_MIPI1_PWM_CLK>;
		assigned-clock-rates = <24000000>;
		#pwm-cells = <2>;
		power-domains = <&pd_mipi_1_pwm0>;
		pinctrl-names = "default";
		pinctrl-0 = <&pinctrl_pwm_mipi_lvds1>;
		status = "okay";
	};
};

&cameradev {
	parallel_csi;
	status = "okay";
};

&parallel_csi {
	#address-cells = <1>;
	#size-cells = <0>;
	status = "disabled";
	port@0 {
		reg = <0>;
		parallel_csi_ep: endpoint {
			remote-endpoint = <&ov5640_ep>;
		};
	};
};

&i2c0 {
	clock-frequency = <1000000>;
};

&i2c2 {
	clock-frequency = <1000000>;
};

&i2c3 {
	clock-frequency = <1000000>;
};

&wm8960 {
	quick-probe;
};

&lvds_backlight0 {
	status = "disabled";
};

&lvds_backlight1 {
        status = "disabled";
};

&pwm_mipi_lvds1 {
	status = "disabled";
};

&mipi_dsi_phy1 {
        status = "disabled";
};

&mipi_dsi1 {
        status = "disabled";
};

&mipi_dsi_bridge1 {
        status = "disabled";
};

&mipi_dsi_phy2 {
	status = "disabled";
};

&mipi_dsi2 {
	status = "disabled";
};

&mipi_dsi_bridge2 {
	status = "disabled";
};

&usdhc2 {
	status = "disabled";
};

&amix {
	status = "disabled";
};

&asrc0 {
	status = "disabled";
};

&i2c0_mipi_lvds1 {
	clock-frequency = <400000>;
        adv_bridge2: adv7535@3d {
                status = "disabled";
        };
};

&jpegdec {
	status = "disabled";
};

&jpegenc {
	status = "disabled";
};
